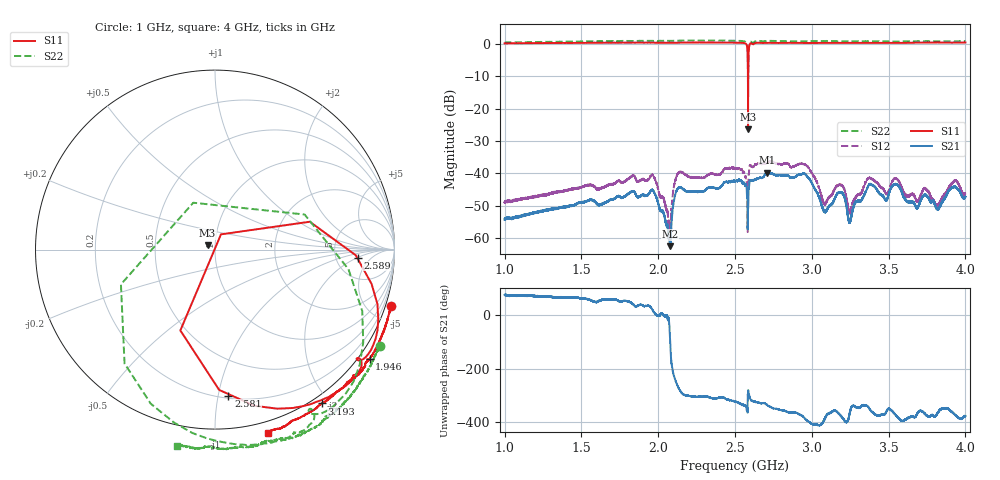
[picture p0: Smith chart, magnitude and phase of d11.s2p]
!Agilent Technologies,N5230C,SG49000117,A.08.50.07
!Agilent N5230C: A.08.50.07
!Date: Monday, May 20, 2024 19:54:29
!Correction: S11(Full 2 Port(1,2))
!S21(Full 2 Port(1,2))
!S12(Full 2 Port(1,2))
!S22(Full 2 Port(1,2))
!S2P File: Measurements: S11, S21, S12, S22:
# Hz S  MA  R 50
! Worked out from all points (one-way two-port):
!   20001 points, 1 GHz to 4 GHz, reference 50 ohm
!   highest |S21| = -39.76 dB at 2.712 GHz (marker M1); lowest = -62.5 dB at 2.077 GHz (marker M2)
!   lowest |S11| = -26.4 dB at 2.585 GHz (marker M3), VSWR 1.10, Z = 46 + j2.24 ohm
!   |S11| at or under -10 dB: 2.58407 GHz to 2.586195 GHz (2.124 MHz wide, 0.0822 % of centre)
!   |S22| runs from -10.8 to 1.1 dB; largest |S21 - S12| = 0.0086
!   S11 on the Smith chart (normalised r, x): 1 GHz: -0.63, -6.37; 1.946 GHz: -0.29, -3.13; 2.581 GHz: 0.22, -1.07; 2.589 GHz: 8.27, -2.02; 3.193 GHz: -0.10, -1.91; 4 GHz: -0.08, -1.33
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1e9  1.031 -17.7  0.001921 77.4  0.003579 62.7  1.063 -30.3
1.5001e9  1.046 -28.2  0.00357 64.1  0.00614 46.2  1.102 -44.4
1.9465e9  1.055 -35.2  0.005137 34.3  0.008674 10.0  1.123 -55.4
2.00005e9  1.05 -35.5  0.003466 -2.1  0.005699 -26.4  1.124 -55.9
2.077e9  1.05 -36.7  0.0007512 -89.1  0.001424 -111.7  1.124 -57.5
2.1364e9  1.054 -37.5  0.006068 83.0  0.01038 59.9  1.131 -58.2
2.5e9  1.053 -44.6  0.007511 35.9  0.01187 5.0  1.13 -69.8
2.56345e9  1.035 -52.7  0.006708 20.3  0.009504 -14.8  1.098 -81.9
2.581e9  0.8179 -84.7  0.004055 2.0  0.003795 -25.9  0.8464 -123.9
2.58505e9  0.04789 149.5  0.002997 52.8  0.002878 54.8  0.3009 135.6
2.5894e9  0.7953 -3.2  0.005903 58.1  0.009889 53.6  0.765 -9.7
2.60245e9  1.033 -32.4  0.007919 42.5  0.01328 19.2  1.094 -52.8
2.7115e9  1.047 -43.1  0.01028 21.7  0.01483 -7.6  1.121 -67.7
3.0001e9  1.043 -50.1  0.007131 -47.5  0.01007 -78.7  1.11 -76.7
3.08305e9  1.046 -52.0  0.002566 -30.9  0.00337 -60.9  1.119 -78.9
3.1933e9  1.044 -55.2  0.005088 -20.7  0.006572 -53.4  1.108 -82.7
3.247e9  1.046 -56.7  0.001787 -7.3  0.002506 -41.0  1.106 -84.4
3.37105e9  1.048 -59.8  0.006639 12.8  0.008468 -25.0  1.11 -87.4
3.50005e9  1.049 -63.0  0.004748 9.2  0.005275 -28.5  1.099 -91.0
3.8164e9  1.061 -70.0  0.002766 -8.7  0.003204 -42.4  1.111 -98.1
3.92815e9  1.055 -72.5  0.006201 -11.0  0.007551 -42.3  1.109 -100.3
4e9  1.062 -73.8  0.004353 -18.0  0.00492 -51.8  1.114 -100.9
